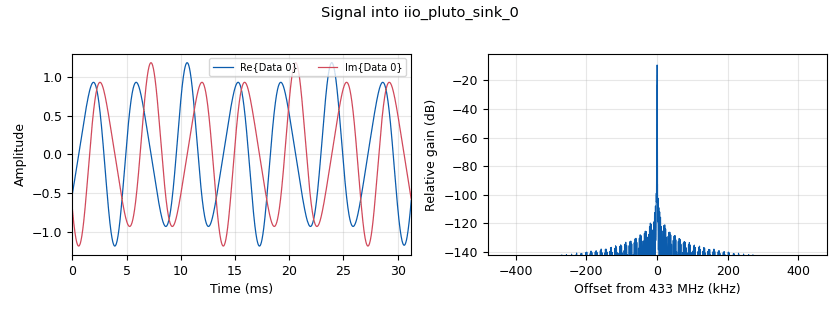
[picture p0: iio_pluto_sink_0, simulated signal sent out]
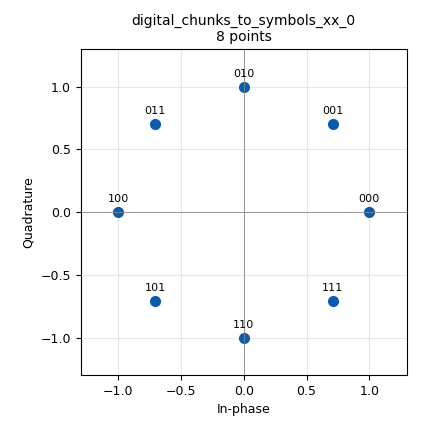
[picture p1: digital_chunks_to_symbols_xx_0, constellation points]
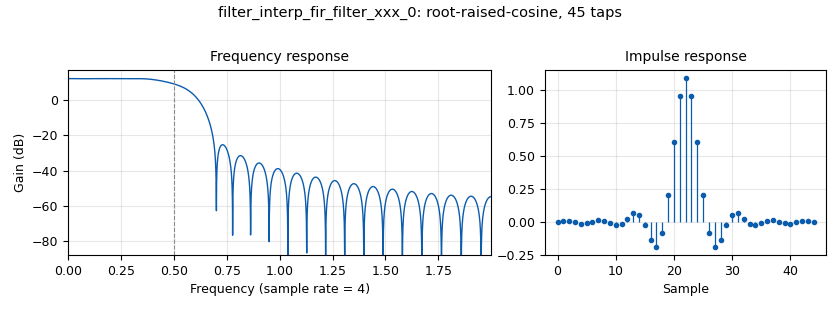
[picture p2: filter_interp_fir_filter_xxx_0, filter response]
options:
  parameters:
    category: ''
    description: OpenWave hardware bring-up - TX half, drives a PlutoSDR. Repeats the message as a beacon so the RX side (test3_rx.grc, RTL-SDR) can be tuned/found without coordinating manual send timing across two separate radios.
    generate_options: qt_gui
    id: test3_tx
    output_language: python
    title: OpenWave TX (PlutoSDR)
  states: {}

blocks:
- name: ring_points
  id: variable
  parameters:
    comment: 8 unit points at 0,45,90,...,315 degrees, sequential index order - the union of both 45-degree-apart QPSK constellations that pi/4-QPSK alternates between
    value: '[1+0j, (2**0.5/2)+(2**0.5/2)*1j, 1j, -(2**0.5/2)+(2**0.5/2)*1j, -1+0j, -(2**0.5/2)-(2**0.5/2)*1j, -1j, (2**0.5/2)-(2**0.5/2)*1j]'
  states: {}
- name: sps
  id: variable
  parameters:
    value: '4'
  states: {}
- name: baseband_rate
  id: variable
  parameters:
    comment: Rate the PHY (RRC pulse shaping etc.) actually runs at - same as test2.grc's samp_rate. Too low to hand straight to Pluto's DAC.
    value: symbol_rate*sps
  states: {}
- name: radio_rate
  id: variable
  parameters:
    comment: Pluto's actual DAC sample rate. Fixed at 960 kHz - a clean integer multiple of baseband_rate for every OpenWave mode (600/1200/2400/4800/9600 baud * sps=4), and comfortably within Pluto's valid sample-rate range.
    value: '960000'
  states: {}
- name: resamp_factor
  id: variable
  parameters:
    comment: Interpolation factor from baseband_rate up to radio_rate
    value: radio_rate // baseband_rate
  states: {}
- name: tx_const
  id: variable_constellation
  parameters:
    comment: All 8 ring points - used as the modulator's symbol table
    const_points: ring_points
    dims: '1'
    normalization: digital.constellation.NO_NORMALIZATION
    precision: '8'
    rot_sym: '8'
    sym_map: '[0, 1, 2, 3, 4, 5, 6, 7]'
    type: calcdist
  states: {}
- name: beacon_period_ms
  id: variable
  parameters:
    comment: How often the beacon repeats the message, for RX-side tuning/hunting
    value: '4000'
  states: {}
- name: center_freq_default
  id: parameter
  parameters:
    comment: 70cm amateur band - only the STARTING frequency; retune live via the Center Freq slider once running.
    short_id: f
    type: intx
    value: '433000000'
  states: {}
- name: center_freq_mhz
  id: variable_qtgui_range
  parameters:
    comment: Live frequency tuning, in MHz (matches Pluto's own 47 MHz-6 GHz valid range). center_freq (Hz) below is derived from this and is what every block actually uses.
    gui_hint: 1,0,1,1
    label: Center Freq (MHz)
    start: '47.0'
    step: '0.001'
    stop: '6000.0'
    value: center_freq_default/1e6
  states: {}
- name: center_freq
  id: variable
  parameters:
    comment: Derived from the live center_freq_mhz control - everything downstream (Pluto sink) references this, in Hz, unchanged.
    value: int(center_freq_mhz*1e6)
  states: {}
- name: pluto_uri
  id: parameter
  parameters:
    comment: Leave blank to auto-discover over USB (iio.get_pluto_uri()); set explicitly for a network-attached Pluto, e.g. 'ip:192.168.2.1'
    short_id: u
    type: str
    value: ''''''
  states: {}
- name: tx_atten
  id: parameter
  parameters:
    comment: TX attenuation in dB (0 = max power). Start high (e.g. 50-60) for a bench test at close range, lower for range testing.
    short_id: a
    type: eng_float
    value: '50.0'
  states: {}
- name: msg
  id: parameter
  parameters:
    short_id: m
    type: str
    value: '"OpenWave pi/4-QPSK PHY test 123!"'
  states: {}
- name: symbol_rate
  id: parameter
  parameters:
    comment: symbol rate in baud - one of the OpenWave modes 600/1200/2400/4800/9600. Must match test3_rx.grc's symbol_rate.
    short_id: r
    type: intx
    value: '600'
  states: {}
- name: blocks_message_strobe_0
  id: blocks_message_strobe
  parameters:
    comment: Beacon repeat - resends the (fixed, at flowgraph-start) message content on a timer, so the RX side has a known, repeating signal to find and tune against instead of needing a coordinated one-shot manual send.
    msg: pmt.string_to_symbol(msg)
    period: beacon_period_ms
  states: {}
- name: blocks_pack_k_bits_bb_0
  id: blocks_pack_k_bits_bb
  parameters:
    comment: Regroup individual bits into 2-bit symbols (0..3)
    k: '2'
  states: {}
- name: blocks_unpack_k_bits_bb_0
  id: blocks_unpack_k_bits_bb
  parameters:
    comment: Unpack 8-bit bytes into individual bits
    k: '8'
  states: {}
- name: digital_chunks_to_symbols_xx_0
  id: digital_chunks_to_symbols_xx
  parameters:
    dimension: '1'
    in_type: byte
    out_type: complex
    symbol_table: tx_const.points()
  states: {}
- name: digital_diff_encoder_bb_0
  id: digital_diff_encoder_bb
  parameters:
    coding: digital.DIFF_DIFFERENTIAL
    comment: Mod-8 phase accumulator - makes it pi/4-QPSK instead of plain QPSK. See test2.grc for the full explanation.
    modulus: '8'
  states: {}
- name: digital_map_bb_0
  id: digital_map_bb
  parameters:
    comment: Symbol value (0..3) -> odd ring position (1,3,5,7)
    map: '[1, 3, 5, 7]'
  states: {}
- name: filter_interp_fir_filter_xxx_0
  id: interp_fir_filter_xxx
  parameters:
    comment: RRC pulse shaping, alpha=0.35 - runs at baseband_rate
    interp: sps
    taps: firdes.root_raised_cosine(sps, sps, 1.0, 0.35, 11*sps)
    type: ccf
  states: {}
- name: filter_rational_resampler_xxx_0
  id: rational_resampler_xxx
  parameters:
    comment: Upsamples from baseband_rate (where the PHY runs) to radio_rate (Pluto's actual DAC rate) - a plain anti-imaging interpolator, not pulse shaping (that already happened above).
    decim: '1'
    interp: resamp_factor
    type: ccf
  states: {}
- name: iio_pluto_sink_0
  id: iio_pluto_sink
  parameters:
    attenuation1: tx_atten
    bandwidth: '20000000'
    buffer_size: '0x8000'
    cyclic: 'False'
    filter_source: '''Auto'''
    frequency: center_freq
    len_tag_key: '""'
    samplerate: radio_rate
    type: fc32
    uri: pluto_uri
  states: {}
- name: pdu_pdu_to_tagged_stream_0
  id: pdu_pdu_to_tagged_stream
  parameters:
    tag: packet_len
    type: byte
  states: {}
- name: qtgui_edit_box_msg_0
  id: qtgui_edit_box_msg
  parameters:
    comment: Manual override - sends immediately on edit, independent of the beacon timer
    gui_hint: 0,0,1,1
    is_pair: 'False'
    label: Send now
    type: string
    value: msg
  states: {}
- name: str_to_pdu_0
  id: epy_block
  parameters:
    _source_code: |
      """
      Wraps an incoming string message (from a QT GUI Message Edit Box) into a
      PDU framed with a timing preamble, the OpenWave sync word,
      and a temporary zero-run end marker (until a real Payload Length header
      field exists), ready for PDU to Tagged Stream. The lead-in zeros give
      Symbol Sync's acquisition loop time to settle before the preamble
      arrives; the trailing zeros give the matched-filter/timing-recovery
      pipeline's group delay somewhere to flush into once the real payload
      ends.
      """
      from gnuradio import gr
      import pmt

      PREAMBLE = b'\x55' * 8
      SYNC_WORD = b'\x1A\xCF\xFC\x1D'


      class blk(gr.basic_block):
          """String to Framed PDU"""

          def __init__(self, lead_pad=24, end_pad=24):
              gr.basic_block.__init__(self, name='String to Framed PDU', in_sig=[], out_sig=[])
              self.lead_pad = lead_pad
              self.end_pad = end_pad
              self.message_port_register_in(pmt.intern('msg'))
              self.message_port_register_out(pmt.intern('pdus'))
              self.set_msg_handler(pmt.intern('msg'), self.handle_msg)

          def handle_msg(self, msg):
              if pmt.is_pair(msg):
                  msg = pmt.cdr(msg)
              text = pmt.symbol_to_string(msg) if pmt.is_symbol(msg) else str(msg)
              payload = (b'\x00' * self.lead_pad + PREAMBLE + SYNC_WORD +
                         text.encode('utf-8') + b'\x00' * self.end_pad)
              pdu = pmt.cons(pmt.make_dict(), pmt.init_u8vector(len(payload), list(payload)))
              self.message_port_pub(pmt.intern('pdus'), pdu)
    end_pad: '24'
    lead_pad: '24'
  states: {}

connections:
- [blocks_message_strobe_0, strobe, str_to_pdu_0, msg]
- [blocks_pack_k_bits_bb_0, '0', digital_map_bb_0, '0']
- [blocks_unpack_k_bits_bb_0, '0', blocks_pack_k_bits_bb_0, '0']
- [digital_chunks_to_symbols_xx_0, '0', filter_interp_fir_filter_xxx_0, '0']
- [digital_diff_encoder_bb_0, '0', digital_chunks_to_symbols_xx_0, '0']
- [digital_map_bb_0, '0', digital_diff_encoder_bb_0, '0']
- [filter_interp_fir_filter_xxx_0, '0', filter_rational_resampler_xxx_0, '0']
- [filter_rational_resampler_xxx_0, '0', iio_pluto_sink_0, '0']
- [pdu_pdu_to_tagged_stream_0, '0', blocks_unpack_k_bits_bb_0, '0']
- [qtgui_edit_box_msg_0, msg, str_to_pdu_0, msg]
- [str_to_pdu_0, pdus, pdu_pdu_to_tagged_stream_0, pdus]

metadata:
  file_format: 1
  grc_version: 3.10.9.2
